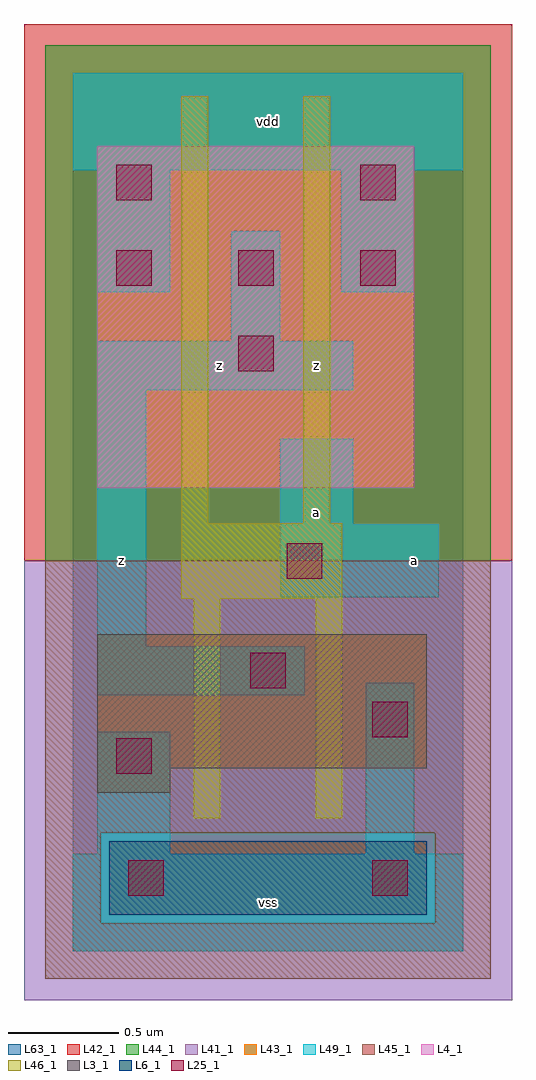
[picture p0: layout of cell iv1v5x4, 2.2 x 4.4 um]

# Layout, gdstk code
import gdstk
lib = gdstk.Library(unit=1e-6, precision=1e-09)
def R(c, l, rs):  # rectangles x0, y0, x1, y1
    for r in rs: c.add(gdstk.rectangle(r[:2], r[2:], *l))
def A(c, l, x, y, w, h, nx, ny, dx, dy):  # array of equal rectangles
    R(c, l, [(x+i*dx, y+j*dy, x+i*dx+w, y+j*dy+h) for i in range(nx) for j in range(ny)])
L3_1 = (3, 1)
L4_1 = (4, 1)
L6_1 = (6, 1)
L25_1 = (25, 1)
L41_1 = (41, 1)
L42_1 = (42, 1)
L43_1 = (43, 1)
L44_1 = (44, 1)
L45_1 = (45, 1)
L46_1 = (46, 1)
L49_1 = (49, 1)
L63_1 = (63, 1)

iv1v5x4 = lib.new_cell('iv1v5x4')
R(iv1v5x4, L3_1, [(0.11,0.715,0.44,0.825), (0.11,0.825,1.595,1.43)])
R(iv1v5x4, L4_1, [(0.11,2.09,1.54,3.63)])
R(iv1v5x4, L6_1, [(0.165,0.165,1.595,0.495)])
A(iv1v5x4, L25_1, 0.195, 3, 0.16, 0.16, 3, 1, 0.55, 0)
R(iv1v5x4, L25_1, [(0.25,0.25,0.41,0.41), (1.35,0.25,1.51,0.41), (0.195,0.8,0.355,0.96), (1.35,0.965,1.51,1.125), (0.8,1.185,0.96,1.345), (0.965,1.68,1.125,1.84), (0.745,2.615,0.905,2.775), (0.195,3.385,0.355,3.545), (1.295,3.385,1.455,3.545)])
R(iv1v5x4, L41_1, [(-0.22,-0.22,1.98,1.76)])
R(iv1v5x4, L42_1, [(-0.22,1.76,1.98,4.18)])
R(iv1v5x4, L43_1, [(0.165,0.165,1.595,0.495), (0.11,0.715,0.44,0.825), (0.11,0.825,1.595,1.43), (0.11,2.09,1.54,3.63)])
R(iv1v5x4, L44_1, [(0.125,0.125,1.635,0.535), (-0.125,1.76,1.885,4.085)])
R(iv1v5x4, L45_1, [(-0.125,-0.125,1.885,0.125), (-0.125,0.125,0.125,0.535), (1.635,0.125,1.885,0.535), (-0.125,0.535,1.885,1.76)])
R(iv1v5x4, L46_1, [(0.545,0.6,0.665,1.59), (1.095,0.6,1.215,1.59), (0.49,1.59,1.215,1.93), (0.49,1.93,0.61,3.855), (1.04,1.93,1.16,3.855)])
R(iv1v5x4, L49_1, [(0,0,1.76,0.44), (0.11,0.44,0.44,0.99), (1.32,0.44,1.54,1.21), (0.11,1.155,1.045,1.375), (0.11,1.375,0.33,2.53), (0.935,1.595,1.65,1.925), (0.935,1.925,1.265,2.31), (0.11,2.53,1.265,2.75), (0.715,2.75,0.935,3.245), (0.11,2.97,0.44,3.52), (1.21,2.97,1.54,3.52), (0,3.52,1.76,3.96)])
R(iv1v5x4, L63_1, [(0,0,1.76,3.96)])
iv1v5x4.add(gdstk.Label('z', (0.22,1.76), layer=49, texttype=1))
iv1v5x4.add(gdstk.Label('z', (0.66,2.64), layer=49, texttype=1))
iv1v5x4.add(gdstk.Label('vss', (0.88,0.22), layer=49, texttype=1))
iv1v5x4.add(gdstk.Label('a', (1.1,1.98), layer=49, texttype=1))
iv1v5x4.add(gdstk.Label('z', (1.1,2.64), layer=49, texttype=1))
iv1v5x4.add(gdstk.Label('vdd', (0.88,3.74), layer=49, texttype=1))
iv1v5x4.add(gdstk.Label('a', (1.54,1.76), layer=49, texttype=1))

lib.write_gds('iv1v5x4.gds')
